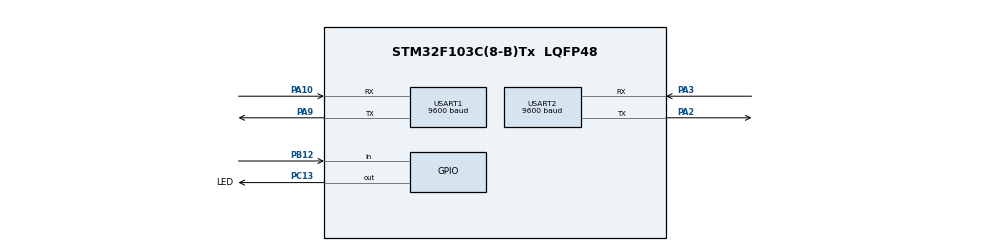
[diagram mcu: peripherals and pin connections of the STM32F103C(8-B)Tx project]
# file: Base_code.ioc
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Mcu.Family=STM32F1
Mcu.Name=STM32F103C(8-B)Tx
Mcu.Package=LQFP48
NVIC.PriorityGroup=NVIC_PRIORITYGROUP_4
PA10.Mode=Asynchronous
PA10.Signal=USART1_RX
PA13.Mode=Serial_Wire
PA13.Signal=SYS_JTMS-SWDIO
PA14.Mode=Serial_Wire
PA14.Signal=SYS_JTCK-SWCLK
PA2.Mode=Asynchronous
PA2.Signal=USART2_TX
PA3.Mode=Asynchronous
PA3.Signal=USART2_RX
PA9.Mode=Asynchronous
PA9.Signal=USART1_TX
PB12.GPIO_PuPd=GPIO_PULLUP
PB12.Signal=GPIO_Input
PC13-TAMPER-RTC.GPIO_Label=LED
PC13-TAMPER-RTC.Signal=GPIO_Output
ProjectManager.HeapSize=0x200
ProjectManager.StackSize=0x400
ProjectManager.TargetToolchain=STM32CubeIDE
RCC.APB1Freq_Value=8000000
RCC.APB2Freq_Value=8000000
USART1.BaudRate=9600
USART1.StopBits=STOPBITS_2
USART1.VirtualMode=VM_ASYNC
USART2.BaudRate=9600
USART2.StopBits=STOPBITS_2
USART2.VirtualMode=VM_ASYNC
board=custom

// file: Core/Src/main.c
/* USER CODE BEGIN Header */
/**
  ******************************************************************************
  * @file           : main.c
  * @brief          : Main program body
  ******************************************************************************
  * @attention
  *
  * Copyright (c) 2024 STMicroelectronics.
  * All rights reserved.
  *
  * This software is licensed under terms that can be found in the LICENSE file
  * in the root directory of this software component.
  * If no LICENSE file comes with this software, it is provided AS-IS.
  *
  ******************************************************************************
  */
/* USER CODE END Header */
#include "main.h"

/* USER CODE BEGIN Includes */
#include "string.h"
#include "stdio.h"
#include "stm32f1xx_hal.h"

#define BUFFER_SIZE 128  // Circular buffer size
#define FIFO_SIZE 8

// Message identifiers
#define MSG_ARRIVE 1
#define MSG_PERMIT 2
#define MSG_EAT 3
#define MSG_LEAVE 4

UART_HandleTypeDef huart1;
UART_HandleTypeDef huart2;
// Message identifiers
#define MSG_ARRIVE 1
#define MSG_PERMIT 2
#define MSG_EAT 3
#define MSG_LEAVE 4

// a struct to store message number and sender ID
typedef struct {
    uint8_t sender_id;   // 1 for USART1, 2 for USART2
    uint8_t message_number;
} fifo_item_t;

fifo_item_t fifo_queue[FIFO_SIZE];

uint8_t fifo_head = 0, fifo_tail = 0;

uint8_t usart1_rx_buffer[BUFFER_SIZE];
uint8_t usart2_rx_buffer[BUFFER_SIZE];
uint8_t usart1_tx_buffer[BUFFER_SIZE];
uint8_t usart2_tx_buffer[BUFFER_SIZE];

volatile uint16_t usart1_rx_head = 0;
volatile uint16_t usart1_rx_tail = 0;
volatile uint16_t usart2_rx_head = 0;
volatile uint16_t usart2_rx_tail = 0;

volatile uint8_t usart1_new_message_flag = 0;
volatile uint8_t usart2_new_message_flag = 0;

// Flag variables
volatile uint8_t forkL_request_flag = 0;
volatile uint8_t forkL_release_flag = 0;
volatile uint8_t forkR_request_flag = 0;
volatile uint8_t forkR_release_flag = 0;

volatile uint8_t msgsrv_arrive_flag = 0;
volatile uint8_t msgsrv_permit_flag = 0;
volatile uint8_t msgsrv_eat_flag = 0;
volatile uint8_t msgsrv_leave_flag = 0;

char usart1_buffer[20];
char usart2_buffer[20];

uint8_t eating;
uint8_t fL;
uint8_t fR;
uint8_t sender;

void send_usart_message(UART_HandleTypeDef* huart, const char* message);
uint8_t check_for_new_message(uint8_t* buffer, volatile uint16_t* head, volatile uint16_t* tail, volatile uint8_t* new_message_flag);
uint8_t circular_buffer_read(uint8_t* buffer, volatile uint16_t* tail);
fifo_item_t fifo_dequeue();
void fifo_enqueue(uint8_t sender_id, uint8_t message_number);

int is_fifo_empty();

void check_send_flags() {
    if (forkL_request_flag) {
        send_usart_message(&huart1, "request");
        forkL_request_flag = 0;
    }
    if (forkL_release_flag) {
        send_usart_message(&huart1, "release");
        forkL_release_flag = 0;
    }
    if (forkR_request_flag) {
        send_usart_message(&huart2, "request");
        forkR_request_flag = 0;
    }
    if (forkR_release_flag) {
        send_usart_message(&huart2, "release");
        forkR_release_flag = 0;
    }
}

void check_USART_1_routine() {
    if (check_for_new_message(usart1_rx_buffer, &usart1_rx_head, &usart1_rx_tail, &usart1_new_message_flag)) {
        char message[BUFFER_SIZE];
        for (int i = 0; i < BUFFER_SIZE; i++) {
            message[i] = circular_buffer_read(usart1_rx_buffer, &usart1_rx_tail);
            if (message[i] == '\n') break;
        }
        if (strcmp((const char *)message, "arrive") == 0) {
            fifo_enqueue(1,MSG_ARRIVE);
        } else if (strcmp((const char *)message, "permit") == 0) {
            fifo_enqueue(1,MSG_PERMIT);
        } else if (strcmp((const char *)message, "eat") == 0) {
            fifo_enqueue(1,MSG_EAT);
        } else if (strcmp((const char *)message, "leave") == 0) {
            fifo_enqueue(1,MSG_LEAVE);
        }
    }
}

void check_USART_2_routine() {
    if (check_for_new_message(usart2_rx_buffer, &usart2_rx_head, &usart2_rx_tail, &usart2_new_message_flag)) {
        char message[BUFFER_SIZE];
        for (int i = 0; i < BUFFER_SIZE; i++) {
            message[i] = circular_buffer_read(usart2_rx_buffer, &usart2_rx_tail);
            if (message[i] == '\n') break;
        }
        if (strcmp((const char *)message, "arrive") == 0) {
            fifo_enqueue(2,MSG_ARRIVE);
        } else if (strcmp((const char *)message, "permit") == 0) {
            fifo_enqueue(2,MSG_PERMIT);
        } else if (strcmp((const char *)message, "eat") == 0) {
            fifo_enqueue(2,MSG_EAT);
        } else if (strcmp((const char *)message, "leave") == 0) {
            fifo_enqueue(2,MSG_LEAVE);
        }
    }
}

void check_FIFO_queue() {
    if (msgsrv_arrive_flag || msgsrv_permit_flag || msgsrv_eat_flag || msgsrv_leave_flag) return;

    if (!is_fifo_empty()) {
        fifo_item_t item = fifo_dequeue();
        sender = item.sender_id;
        if (item.message_number == MSG_ARRIVE) {
            msgsrv_arrive_flag = 1;
        } else if (item.message_number == MSG_PERMIT) {
            msgsrv_permit_flag = 1;
        } else if (item.message_number == MSG_EAT) {
            msgsrv_eat_flag = 1;
        } else if (item.message_number == MSG_LEAVE) {
            msgsrv_leave_flag = 1;
        }
    }
}

void fifo_enqueue(uint8_t sender_id, uint8_t message_number) {
    fifo_queue[fifo_head].sender_id = sender_id;
    fifo_queue[fifo_head].message_number = message_number;
    fifo_head = (fifo_head + 1) % FIFO_SIZE;
}

fifo_item_t fifo_dequeue() {
    fifo_item_t item = fifo_queue[fifo_tail];
    fifo_tail = (fifo_tail + 1) % FIFO_SIZE;
    return item;
}

int is_fifo_empty() {
    return fifo_head == fifo_tail;
}

const char* add_crlf(const char* str) {
    static char buffer[BUFFER_SIZE];
    snprintf(buffer, BUFFER_SIZE, "%s\r\n", str);
    return buffer;
}

void send_usart_message(UART_HandleTypeDef* huart, const char* message) {
    const char* msg_with_crlf = add_crlf(message);
    HAL_UART_Transmit_IT(huart, (uint8_t*)msg_with_crlf, strlen(msg_with_crlf));
}

// Circular buffer write for receiving data
void circular_buffer_write(uint8_t* buffer, volatile uint16_t* head, uint8_t data) {
    buffer[*head] = data;
    *head = (*head + 1) % BUFFER_SIZE;
}

uint8_t circular_buffer_read(uint8_t* buffer, volatile uint16_t* tail) {
    uint8_t data = buffer[*tail];
    *tail = (*tail + 1) % BUFFER_SIZE;
    return data;
}

// Function to check if a complete message has been received (CRLF)
uint8_t check_for_new_message(uint8_t* buffer, volatile uint16_t* head, volatile uint16_t* tail, volatile uint8_t* new_message_flag) {
    if (*new_message_flag) {
        *new_message_flag = 0;
        return 1;
    }
    return 0;
}

void HAL_UART_RxCpltCallback(UART_HandleTypeDef* huart) {
    uint8_t received_byte;

    if (huart->Instance == USART1) {
        received_byte = huart->pRxBuffPtr[0];  // Received byte from USART1
        circular_buffer_write(usart1_rx_buffer, &usart1_rx_head, received_byte);

        // Check if last two bytes are CR (13) and LF (10)
        uint16_t prev_index = (usart1_rx_head + BUFFER_SIZE - 2) % BUFFER_SIZE;
        if (usart1_rx_buffer[prev_index] == 13 && usart1_rx_buffer[usart1_rx_head - 1] == 10) {
            usart1_new_message_flag = 1;  // Set new message flag
        }
        // Ready to receive the next byte
        HAL_UART_Receive_IT(&huart1, &received_byte, 1);
    }
    else if (huart->Instance == USART2) {
        received_byte = huart->pRxBuffPtr[0];
        circular_buffer_write(usart2_rx_buffer, &usart2_rx_head, received_byte);

        uint16_t prev_index = (usart2_rx_head + BUFFER_SIZE - 2) % BUFFER_SIZE;
        if (usart2_rx_buffer[prev_index] == 13 && usart2_rx_buffer[usart2_rx_head - 1] == 10) {
            usart2_new_message_flag = 1;
        }
        HAL_UART_Receive_IT(&huart2, &received_byte, 1);
    }
}
/* USER CODE END Includes */

UART_HandleTypeDef huart1;
UART_HandleTypeDef huart2;

void SystemClock_Config(void);
static void MX_GPIO_Init(void);
static void MX_USART1_UART_Init(void);
static void MX_USART2_UART_Init(void);

int main(void)
{

  /* MCU Configuration--------------------------------------------------------*/

  /* Reset of all peripherals, Initializes the Flash interface and the Systick. */
  HAL_Init();

  /* Configure the system clock */
  SystemClock_Config();

  /* Initialize all configured peripherals */
  MX_GPIO_Init();
  MX_USART1_UART_Init();
  MX_USART2_UART_Init();

  /* Infinite loop */
  /* USER CODE BEGIN WHILE */
  uint8_t temp_byte;
  HAL_UART_Receive_IT(&huart1, &temp_byte, 1);
  HAL_UART_Receive_IT(&huart2, &temp_byte, 1);
  while (1)
  {
      check_USART_1_routine();
      check_USART_2_routine();
      check_send_flags();
      check_FIFO_queue();
      asm("nop \n"
    		  ".global eating \n"
    		  ".global fL \n"
    		  ".global fR \n"
    		  ".global sender \n"
    		  ".global msgsrv_arrive_flag \n"
    		  ".global msgsrv_permit_flag \n"
    		  ".global msgsrv_eat_flag \n"
    		  ".global msgsrv_leave_flag \n"
    		  ".global forkL_request_flag \n"
    		  ".global forkL_release_flag \n"
    		  ".global forkR_request_flag \n"
    		  ".global forkR_release_flag \n"
    		  "ldr r0, =msgsrv_arrive_flag \n"
    		  "ldr r1, [r0] \n"
    		  "cmp r1, #1 \n"
    		  "beq msgsrv_arrive \n"
    		  "ldr r0, =msgsrv_permit_flag \n"
    		  "ldr r1, [r0] \n"
    		  "cmp r1, #1 \n"
    		  "beq msgsrv_permit \n"
    		  "ldr r0, =msgsrv_eat_flag \n"
    		  "ldr r1, [r0] \n"
    		  "cmp r1, #1 \n"
    		  "beq msgsrv_eat \n"
    		  "ldr r0, =msgsrv_leave_flag \n"
    		  "ldr r1, [r0] \n"
    		  "cmp r1, #1 \n"
    		  "beq msgsrv_leave \n"
    		  "b label_end \n"
    		  "msgsrv_arrive: \n"
    		  "mov r0, #0 \n"
    		  "ldr r1, =msgsrv_arrive_flag \n"
    		  "str r0, [r1] \n"
    		  "mov r0, #1 \n"
    		  "ldr r1, =forkL_request_flag \n"
    		  "str r0, [r1] \n"
    		  "bx lr \n"
    		  "msgsrv_permit: \n"
    		  "mov r0, #0 \n"
    		  "ldr r1, =msgsrv_permit_flag \n"
    		  "str r0, [r1] \n"
    		  "ldr r0, =sender \n"
    		  "ldr r1, [r0] \n"
    		  "cmp r1, #1 \n"
    		  "beq else_label1 \n"
    		  "ldr r0, =fL \n"
    		  "ldr r1, [r0] \n"
    		  "cmp r1, #0 \n"
    		  "beq else_label2 \n"
    		  "mov r2, #0 \n"
    		  "b end_label2 \n"
    		  "else_label2: \n"
    		  "mov r2, #1 \n"
    		  "end_label2: \n"
    		  "cmp r2, #0 \n"
    		  "beq else_label3 \n"
    		  "mov r0, #1 \n"
    		  "ldr r1, =fL \n"
    		  "str r0, [r1] \n"
    		  "mov r0, #1 \n"
    		  "ldr r1, =forkR_request_flag \n"
    		  "str r0, [r1] \n"
    		  "b end_label3 \n"
    		  "else_label3: \n"
    		  "end_label3: \n"
    		  "b end_label1 \n"
    		  "else_label1: \n"
    		  "ldr r0, =fL \n"
    		  "ldr r1, [r0] \n"
    		  "cmp r1, #0 \n"
    		  "beq else_label13 \n"
    		  "mov r2, #1 \n"
    		  "b end_label13 \n"
    		  "else_label13: \n"
    		  "mov r2, #0 \n"
    		  "end_label13: \n"
    		  "ldr r0, =fR \n"
    		  "ldr r1, [r0] \n"
    		  "cmp r1, #0 \n"
    		  "beq else_label14 \n"
    		  "mov r3, #1 \n"
    		  "b end_label14 \n"
    		  "else_label14: \n"
    		  "mov r3, #0 \n"
    		  "end_label14: \n"
    		  "cmp r3, #0 \n"
    		  "beq else_label4 \n"
    		  "mov r4, #0 \n"
    		  "b end_label4 \n"
    		  "else_label4: \n"
    		  "mov r4, #1 \n"
    		  "end_label4: \n"
    		  "cmp r3, #0 \n"
    		  "beq else_label5 \n"
    		  "cmp r4, #0 \n"
    		  "beq else_label5 \n"
    		  "mov r0, #1 \n"
    		  "ldr r1, =fR \n"
    		  "str r0, [r1] \n"
    		  "mov r0, #1 \n"
    		  "ldr r1, =msgsrv_eat_flag \n"
    		  "str r0, [r1] \n"
    		  "b end_label5 \n"
    		  "else_label5: \n"
    		  "end_label5: \n"
    		  "end_label1: \n"
    		  "bx lr \n"
    		  "msgsrv_eat: \n"
    		  "mov r0, #0 \n"
    		  "ldr r1, =msgsrv_eat_flag \n"
    		  "str r0, [r1] \n"
    		  "mov r0, #1 \n"
    		  "ldr r1, =eating \n"
    		  "str r0, [r1] \n"
    		  "mov r0, #1 \n"
    		  "ldr r1, =msgsrv_leave_flag \n"
    		  "str r0, [r1] \n"
    		  "bx lr \n"
    		  "msgsrv_leave: \n"
    		  "mov r0, #0 \n"
    		  "ldr r1, =msgsrv_leave_flag \n"
    		  "str r0, [r1] \n"
    		  "mov r0, #0 \n"
    		  "ldr r1, =fL \n"
    		  "str r0, [r1] \n"
    		  "mov r0, #0 \n"
    		  "ldr r1, =fR \n"
    		  "str r0, [r1] \n"
    		  "mov r0, #0 \n"
    		  "ldr r1, =eating \n"
    		  "str r0, [r1] \n"
    		  "mov r0, #1 \n"
    		  "ldr r1, =forkL_release_flag \n"
    		  "str r0, [r1] \n"
    		  "mov r0, #1 \n"
    		  "ldr r1, =forkR_release_flag \n"
    		  "str r0, [r1] \n"
    		  "mov r0, #1 \n"
    		  "ldr r1, =msgsrv_arrive_flag \n"
    		  "str r0, [r1] \n"
    		  "bx lr \n"
    		  "label_end: \n");
    /* USER CODE END WHILE */

  }
}

void SystemClock_Config(void)
{
  RCC_OscInitTypeDef RCC_OscInitStruct = {0};
  RCC_ClkInitTypeDef RCC_ClkInitStruct = {0};

  /** Initializes the RCC Oscillators according to the specified parameters
  * in the RCC_OscInitTypeDef structure.
  */
  RCC_OscInitStruct.OscillatorType = RCC_OSCILLATORTYPE_HSI;
  RCC_OscInitStruct.HSIState = RCC_HSI_ON;
  RCC_OscInitStruct.HSICalibrationValue = RCC_HSICALIBRATION_DEFAULT;
  RCC_OscInitStruct.PLL.PLLState = RCC_PLL_NONE;
  if (HAL_RCC_OscConfig(&RCC_OscInitStruct) != HAL_OK)
  {
    Error_Handler();
  }

  /** Initializes the CPU, AHB and APB buses clocks
  */
  RCC_ClkInitStruct.ClockType = RCC_CLOCKTYPE_HCLK|RCC_CLOCKTYPE_SYSCLK
                              |RCC_CLOCKTYPE_PCLK1|RCC_CLOCKTYPE_PCLK2;
  RCC_ClkInitStruct.SYSCLKSource = RCC_SYSCLKSOURCE_HSI;
  RCC_ClkInitStruct.AHBCLKDivider = RCC_SYSCLK_DIV1;
  RCC_ClkInitStruct.APB1CLKDivider = RCC_HCLK_DIV1;
  RCC_ClkInitStruct.APB2CLKDivider = RCC_HCLK_DIV1;

  if (HAL_RCC_ClockConfig(&RCC_ClkInitStruct, FLASH_LATENCY_0) != HAL_OK)
  {
    Error_Handler();
  }
}

static void MX_USART1_UART_Init(void)
{

  huart1.Instance = USART1;
  huart1.Init.BaudRate = 9600;
  huart1.Init.WordLength = UART_WORDLENGTH_8B;
  huart1.Init.StopBits = UART_STOPBITS_2;
  huart1.Init.Parity = UART_PARITY_NONE;
  huart1.Init.Mode = UART_MODE_TX_RX;
  huart1.Init.HwFlowCtl = UART_HWCONTROL_NONE;
  huart1.Init.OverSampling = UART_OVERSAMPLING_16;
  if (HAL_UART_Init(&huart1) != HAL_OK)
  {
    Error_Handler();
  }

}

static void MX_USART2_UART_Init(void)
{

  huart2.Instance = USART2;
  huart2.Init.BaudRate = 9600;
  huart2.Init.WordLength = UART_WORDLENGTH_8B;
  huart2.Init.StopBits = UART_STOPBITS_2;
  huart2.Init.Parity = UART_PARITY_NONE;
  huart2.Init.Mode = UART_MODE_TX_RX;
  huart2.Init.HwFlowCtl = UART_HWCONTROL_NONE;
  huart2.Init.OverSampling = UART_OVERSAMPLING_16;
  if (HAL_UART_Init(&huart2) != HAL_OK)
  {
    Error_Handler();
  }

}

static void MX_GPIO_Init(void)
{
  GPIO_InitTypeDef GPIO_InitStruct = {0};

  /* GPIO Ports Clock Enable */
  __HAL_RCC_GPIOC_CLK_ENABLE();
  __HAL_RCC_GPIOA_CLK_ENABLE();
  __HAL_RCC_GPIOB_CLK_ENABLE();

  /*Configure GPIO pin Output Level */
  HAL_GPIO_WritePin(LED_GPIO_Port, LED_Pin, GPIO_PIN_RESET);

  /*Configure GPIO pin : LED_Pin */
  GPIO_InitStruct.Pin = LED_Pin;
  GPIO_InitStruct.Mode = GPIO_MODE_OUTPUT_PP;
  GPIO_InitStruct.Pull = GPIO_NOPULL;
  GPIO_InitStruct.Speed = GPIO_SPEED_FREQ_LOW;
  HAL_GPIO_Init(LED_GPIO_Port, &GPIO_InitStruct);

  /*Configure GPIO pin : PB12 */
  GPIO_InitStruct.Pin = GPIO_PIN_12;
  GPIO_InitStruct.Mode = GPIO_MODE_INPUT;
  GPIO_InitStruct.Pull = GPIO_PULLUP;
  HAL_GPIO_Init(GPIOB, &GPIO_InitStruct);

}

void Error_Handler(void)
{
  __disable_irq();
  while (1)
  {
  }
}
